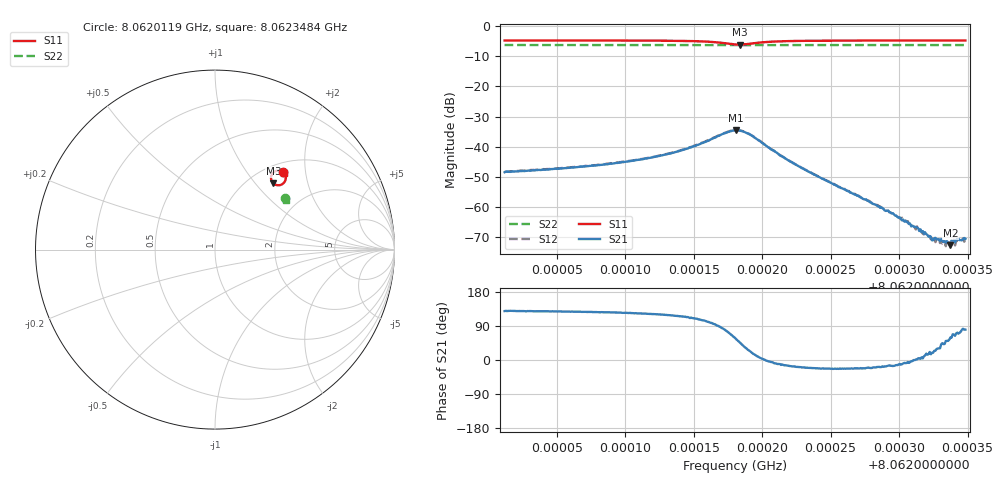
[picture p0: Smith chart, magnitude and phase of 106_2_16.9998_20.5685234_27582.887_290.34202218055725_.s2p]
#  HZ  S  RI  R  50.00
! Rohde & Schwarz Vector Network Analyzer
! Rohde-Schwarz,ZNB20-2Port,1311601062101988,3.16
! Created: UTC 3/20/2024, 10:56:50 PM
! freq[Hz]  re:S11  im:S11  re:S21  im:S21  re:S12  im:S12  re:S22  im:S22
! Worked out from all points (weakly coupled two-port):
!   401 points, 8.0620119 GHz to 8.0623484 GHz, reference 50 ohm
!   highest |S21| = -34.54 dB at 8.062181 GHz (marker M1); lowest = -72.7 dB at 8.0623375 GHz (marker M2)
!   lowest |S11| = -6.2 dB at 8.0621835 GHz (marker M3), VSWR 2.94, Z = 64 + j62.4 ohm
!   |S11| at or under -10 dB: nowhere
!   |S22| runs from -6.4 to -6.3 dB; largest |S21 - S12| = 0.0015
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8.06201192e9  0.3774 0.4346  -0.00238 0.00293  -0.0023 0.00314  0.3876 0.2896
8.06206829e9  0.3829 0.4287  -0.00281 0.00373  -0.00265 0.00391  0.3894 0.2867
8.06210025e9  0.387 0.4233  -0.00318 0.00463  -0.00295 0.00491  0.3905 0.2848
8.06212465e9  0.3909 0.4159  -0.00353 0.00607  -0.00323 0.00638  0.3914 0.2833
8.06214736e9  0.3942 0.4018  -0.00345 0.00914  -0.00308 0.00931  0.392 0.2818
8.06216671e9  0.3847 0.3734  -0.000388 0.0147  0.000433 0.0148  0.392 0.2797
8.06218017e9  0.3393 0.3607  0.00975 0.0158  0.0111 0.0152  0.3901 0.2793
8.06218101e9  0.3355 0.3623  0.0107 0.0154  0.0118 0.0147  0.3901 0.2794
8.06218354e9  0.3252 0.3694  0.0127 0.0135  0.0137 0.0127  0.3898 0.2798
8.06219195e9  0.3124 0.404  0.0145 0.00553  0.0149 0.00457  0.3899 0.281
8.06221382e9  0.3435 0.4392  0.00684 -0.00158  0.00688 -0.0019  0.3927 0.281
8.06223654e9  0.3609 0.4399  0.00337 -0.0013  0.00332 -0.00147  0.3942 0.2799
8.0622929e9  0.3763 0.4339  0.0008 -0.0002  0.000772 -0.000274  0.3964 0.2767
8.06231393e9  0.3794 0.4321  0.000444 3.49e-05  0.000436 -7.71e-06  0.3971 0.2755
8.06231645e9  0.3796 0.4319  0.000381 4.83e-05  0.000384 -1.74e-05  0.3971 0.2755
8.06232066e9  0.3801 0.4314  0.000335 8.47e-05  0.000362 3.94e-05  0.3974 0.2752
8.06232318e9  0.3805 0.4314  0.000313 8.43e-05  0.000285 6.97e-05  0.3974 0.2751
8.06233244e9  0.3815 0.4306  0.000197 0.000177  0.000196 0.000164  0.3979 0.2746
8.0623358e9  0.3817 0.4304  0.000165 0.0002  0.000166 0.0002  0.3978 0.2744
8.06233749e9  0.382 0.4302  0.000118 0.0002  0.000137 0.000223  0.3979 0.2745
8.06234253e9  0.3825 0.43  9.16e-05 0.000283  0.000119 0.000259  0.3981 0.2743
8.06234842e9  0.3831 0.4295  5.05e-05 0.000293  1.2e-05 0.000303  0.3983 0.2737
